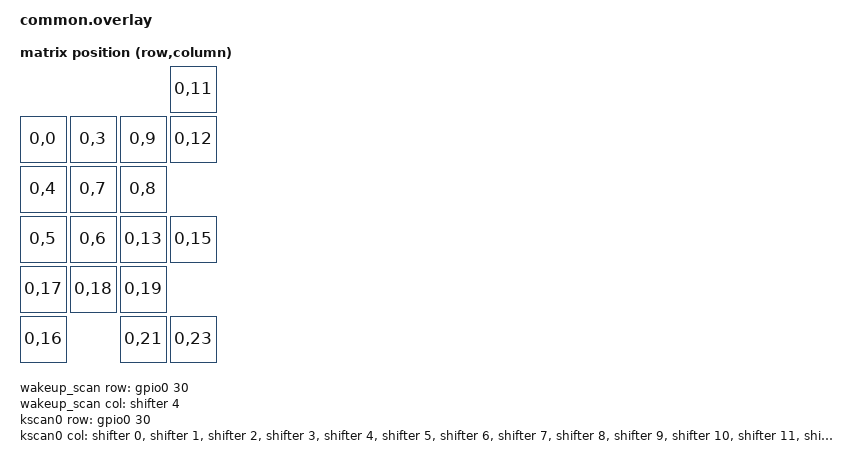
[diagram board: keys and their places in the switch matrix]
#include <dt-bindings/led/led.h>

&pinctrl {
    spi0_default: spi0_default {
        group1 {
            psels = <NRF_PSEL(SPIM_SCK,  1, 13)>,
                    <NRF_PSEL(SPIM_MOSI, 0, 28)>;
        };
    };

    spi0_sleep: spi0_sleep {
        group1 {
            psels = <NRF_PSEL(SPIM_SCK,  1, 13)>,
                    <NRF_PSEL(SPIM_MOSI, 0, 28)>;
            low-power-enable;
        };
    };

    spi3_default: spi3_default {
        group1 {
            psels = <NRF_PSEL(SPIM_MOSI, 0, 6)>;
        };
    };

    spi3_sleep: spi3_sleep {
        group1 {
            psels = <NRF_PSEL(SPIM_MOSI, 0, 6)>;
            low-power-enable;
        };
    };
};

&spi3 {
    compatible = "nordic,nrf-spim";
    status = "okay";

    pinctrl-0 = <&spi3_default>;
    pinctrl-1 = <&spi3_sleep>;
    pinctrl-names = "default", "sleep";

    led_strip: ws2812@0 {
        compatible = "worldsemi,ws2812-spi";

        /* SPI */
        reg = <0>; /* ignored, but necessary for SPI bindings */
        spi-max-frequency = <4000000>;

        /* WS2812 */
        chain-length = <1>; /* arbitrary; change at will */
        spi-one-frame = <0x70>;
        spi-zero-frame = <0x40>;

        color-mapping = <LED_COLOR_ID_GREEN LED_COLOR_ID_RED LED_COLOR_ID_BLUE>;
    };
};

&spi0 {
    compatible = "nordic,nrf-spim";
    pinctrl-0 = <&spi0_default>;
    pinctrl-1 = <&spi0_sleep>;
    pinctrl-names = "default", "sleep";
    status = "okay";
    cs-gpios = <&gpio1 0 GPIO_ACTIVE_LOW>;
    shifter: 595@0 {
        compatible = "zmk,gpio-595";
        status = "okay";
        gpio-controller;
        spi-max-frequency = <8000000>; //default 400K to 8M, for NRF52840, spim3 max 32M, other 8M
        reg = <0>;
        #gpio-cells = <2>;
        ngpios = <24>;
    };
};

/ {
    aliases {
        indicator-r = &led0;
        indicator-g = &led1;
        indicator-b = &led2;
    };
    leds {
        /* P1.11 R, P1.10 G, P0.03 B */
        compatible = "gpio-leds";
        status = "okay";
        led0: led_0 { gpios = <&gpio1 11 GPIO_ACTIVE_LOW>; }; //r
        led1: led_1 { gpios = <&gpio1 10 GPIO_ACTIVE_LOW>; }; //g
        led2: led_2 { gpios = <&gpio0  3 GPIO_ACTIVE_LOW>; }; //b
    };

    /* soft off */
    wakeup_scan: wakeup_scan {
        compatible = "zmk,kscan-gpio-matrix";
        wakeup-source;
        diode-direction = "col2row";
        // KEY P7 at RC(0,4)
        col-gpios = <&shifter 4 GPIO_ACTIVE_LOW>;
        row-gpios = <&gpio0 30 (GPIO_ACTIVE_LOW | GPIO_PULL_UP)>;
    };
    soft_off_wakers {
        compatible = "zmk,soft-off-wakeup-sources";
        wakeup-sources = <&wakeup_scan>;
    };
    /* end of soft-off */

    chosen {
        zmk,underglow = &led_strip;
        zmk,battery = &vbatt;
        zmk,kscan = &kscan0;
        zmk,physical-layout = &hhkb_layout;
    };

    vbatt: vbatt {
        compatible = "zmk,battery-voltage-divider";
        io-channels = <&adc 3>;
        output-ohms = <2000000>;
        full-ohms = <(2000000 + 820000)>;
    };

    kscan0: kscan_keys {
        compatible = "zmk,kscan-gpio-matrix";
        wakeup-source;
        diode-direction = "col2row";
        col-gpios
            = <&shifter 0 GPIO_ACTIVE_LOW>
            , <&shifter 1 GPIO_ACTIVE_LOW>
            , <&shifter 2 GPIO_ACTIVE_LOW>
            , <&shifter 3 GPIO_ACTIVE_LOW>
            , <&shifter 4 GPIO_ACTIVE_LOW>
            , <&shifter 5 GPIO_ACTIVE_LOW>
            , <&shifter 6 GPIO_ACTIVE_LOW>
            , <&shifter 7 GPIO_ACTIVE_LOW>
            , <&shifter 8 GPIO_ACTIVE_LOW>
            , <&shifter 9 GPIO_ACTIVE_LOW>
            , <&shifter 10 GPIO_ACTIVE_LOW>
            , <&shifter 11 GPIO_ACTIVE_LOW>
            , <&shifter 12 GPIO_ACTIVE_LOW>
            , <&shifter 13 GPIO_ACTIVE_LOW>
            , <&shifter 14 GPIO_ACTIVE_LOW>
            , <&shifter 15 GPIO_ACTIVE_LOW>
            , <&shifter 16 GPIO_ACTIVE_LOW>
            , <&shifter 17 GPIO_ACTIVE_LOW>
            , <&shifter 18 GPIO_ACTIVE_LOW>
            , <&shifter 19 GPIO_ACTIVE_LOW>
            , <&shifter 20 GPIO_ACTIVE_LOW>
            , <&shifter 21 GPIO_ACTIVE_LOW>
            , <&shifter 22 GPIO_ACTIVE_LOW>
            , <&shifter 23 GPIO_ACTIVE_LOW>
            ;
        
        row-gpios
            = <&gpio0 30 (GPIO_ACTIVE_LOW | GPIO_PULL_UP)>

            ;
    };
    
    matrix_transform_all: matrix_transform_all {
        compatible = "zmk,matrix-transform";
        columns = <24>;
        rows = <1>;
        map = <
                              RC(0,11) 
RC(0, 0)  RC(0, 3)  RC(0, 9)  RC(0,12) 
RC(0, 4)  RC(0, 7)  RC(0, 8)  
RC(0, 5)  RC(0, 6)  RC(0,13)  RC(0,15) 
RC(0,17)  RC(0,18)  RC(0,19)  
RC(0,16)            RC(0,21)  RC(0,23)
        >;
/*
RC(0, 1)  RC(0, 2)  RC(0,10)  RC(0,11) 
RC(0, 0)  RC(0, 3)  RC(0, 9)  RC(0,12) 
RC(0, 4)  RC(0, 7)  RC(0, 8)  RC(0,14) 
RC(0, 5)  RC(0, 6)  RC(0,13)  RC(0,15) 
RC(0,17)  RC(0,18)  RC(0,19)  RC(0,22) 
RC(0,16)  RC(0,20)  RC(0,21)  RC(0,23)
        >;
*/
    };
};
//Multi Layouts Defines
                    //                     w   h    x    y     rot    rx    ry
#define TOFU_PAD      <&key_physical_attrs 100 100  300    0       0     0     0> \
                    , <&key_physical_attrs 100 100    0  125       0     0     0> \
                    , <&key_physical_attrs 100 100  100  125       0     0     0> \
                    , <&key_physical_attrs 100 100  200  125       0     0     0> \
                    , <&key_physical_attrs 100 100  300  125       0     0     0> \
                    , <&key_physical_attrs 100 100    0  225       0     0     0> \
                    , <&key_physical_attrs 100 100  100  225       0     0     0> \
                    , <&key_physical_attrs 100 100  200  225       0     0     0> \
                    , <&key_physical_attrs 100 100    0  325       0     0     0> \
                    , <&key_physical_attrs 100 100  100  325       0     0     0> \
                    , <&key_physical_attrs 100 100  200  325       0     0     0> \
                    , <&key_physical_attrs 100 200  300  225       0     0     0> \
                    , <&key_physical_attrs 100 100    0  425       0     0     0> \
                    , <&key_physical_attrs 100 100  100  425       0     0     0> \
                    , <&key_physical_attrs 100 100  200  425       0     0     0> \
                    , <&key_physical_attrs 200 100    0  525       0     0     0> \
                    , <&key_physical_attrs 100 100  200  525       0     0     0> \
                    , <&key_physical_attrs 100 200  300  425       0     0     0> \


// Base Layout with all keys in matrix.
/ {
    chosen {
        zmk,physical-layout = &layout_all;
    };
    layout_all: layout_all {
        compatible = "zmk,physical-layout";
        display-name = "ALL_KEYS";
        transform = <&matrix_transform_all>;

        keys =    TOFU_PAD;
    };
};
